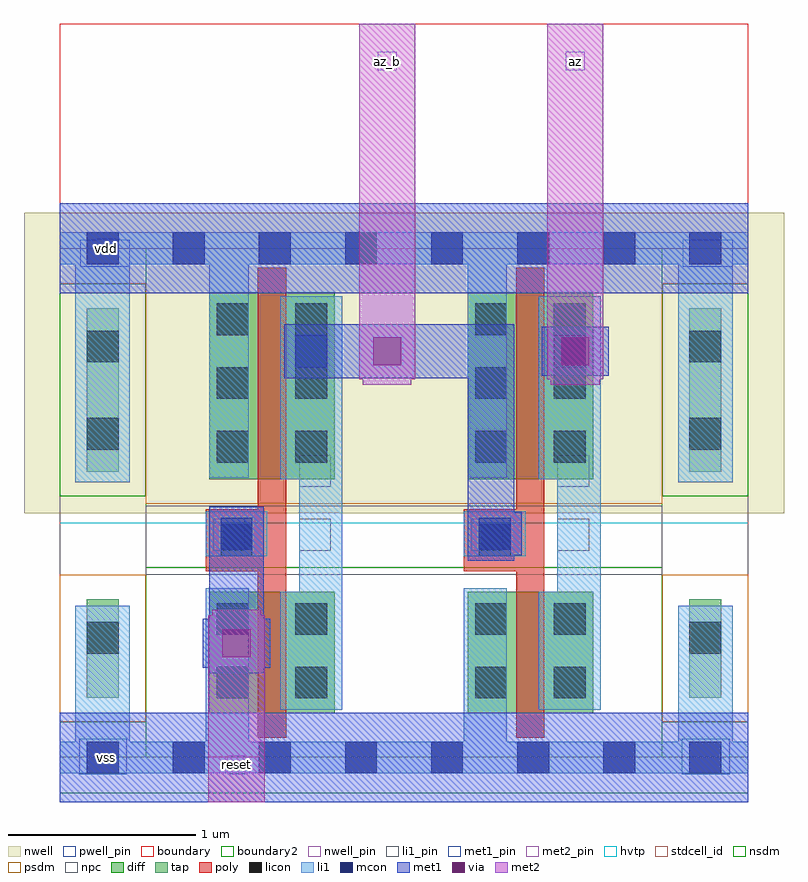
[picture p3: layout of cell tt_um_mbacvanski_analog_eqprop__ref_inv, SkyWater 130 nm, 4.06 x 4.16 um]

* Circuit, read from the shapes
.subckt tt_um_mbacvanski_analog_eqprop__ref_inv az az_b reset vdd vss
XM1 az_b reset vss vss sky130_fd_pr__nfet_01v8 w=0.65 l=0.15
XM2 az az_b vss vss sky130_fd_pr__nfet_01v8 w=0.65 l=0.15
XM3 az_b reset vdd vdd sky130_fd_pr__pfet_01v8_hvt w=1 l=0.15
XM4 az az_b vdd vdd sky130_fd_pr__pfet_01v8_hvt w=1 l=0.15
.ends

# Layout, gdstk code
import gdstk
lib = gdstk.Library(unit=1e-6, precision=1e-09)
def R(c, l, rs):  # rectangles x0, y0, x1, y1
    for r in rs: c.add(gdstk.rectangle(r[:2], r[2:], *l))
def A(c, l, x, y, w, h, nx, ny, dx, dy):  # array of equal rectangles
    R(c, l, [(x+i*dx, y+j*dy, x+i*dx+w, y+j*dy+h) for i in range(nx) for j in range(ny)])
def P(c, l, *ps):  # polygons
    for p in ps: c.add(gdstk.Polygon(p, *l))
nwell_pin = (64, 16)
nwell = (64, 20)
diff = (65, 20)
tap = (65, 44)
poly = (66, 20)
licon = (66, 44)
li1_pin = (67, 16)
li1 = (67, 20)
mcon = (67, 44)
met1_pin = (68, 16)
met1 = (68, 20)
via = (68, 44)
met2_pin = (69, 16)
met2 = (69, 20)
hvtp = (78, 44)
stdcell_id = (81, 4)
nsdm = (93, 44)
psdm = (94, 20)
npc = (95, 20)
pwell_pin = (122, 16)
boundary = (235, 4)
boundary2 = (236, 0)

sky130_fd_sc_hd__tapvpwr = lib.new_cell('sky130_fd_sc_hd__tapvpwrvgnd_1')
R(sky130_fd_sc_hd__tapvpwr, nwell, [(-0.19,1.305,0.65,2.91)])
R(sky130_fd_sc_hd__tapvpwr, tap, [(0.145,0.32,0.315,0.845), (0.145,1.525,0.315,2.4)])
R(sky130_fd_sc_hd__tapvpwr, licon, [(0.145,0.555,0.315,0.725), (0.145,1.645,0.315,1.815), (0.145,2.11,0.315,2.28)])
R(sky130_fd_sc_hd__tapvpwr, li1, [(0,-0.085,0.46,0.085), (0.085,0,0.375,0.81), (0.085,1.47,0.375,2.72), (0,2.635,0.46,2.805)])
R(sky130_fd_sc_hd__tapvpwr, mcon, [(0.145,-0.085,0.315,0.085), (0.145,2.635,0.315,2.805)])
R(sky130_fd_sc_hd__tapvpwr, met1_pin, [(0.105,-0.09,0.36,0.1), (0.11,2.62,0.375,2.765)])
R(sky130_fd_sc_hd__tapvpwr, met1, [(0,-0.24,0.46,0.24), (0,2.48,0.46,2.96)])
R(sky130_fd_sc_hd__tapvpwr, hvtp, [(0,1.25,0.46,2.72)])
R(sky130_fd_sc_hd__tapvpwr, stdcell_id, [(0,0,0.46,2.72)])
R(sky130_fd_sc_hd__tapvpwr, nsdm, [(0,-0.19,0.46,0.19), (0,1.395,0.46,2.53)])
R(sky130_fd_sc_hd__tapvpwr, psdm, [(0,0.19,0.46,0.975), (0,2.53,0.46,2.91)])
sky130_fd_sc_hd__tapvpwr.add(gdstk.Label('VGND', (0.23,0), layer=68, texttype=5))
sky130_fd_sc_hd__tapvpwr.add(gdstk.Label('VPWR', (0.23,2.72), layer=68, texttype=5))
sky130_fd_sc_hd__tapvpwr.add(gdstk.Label('tapvpwrvgnd_1', (0,0), layer=83, texttype=44))

sky130_fd_sc_hd__inv_1 = lib.new_cell('sky130_fd_sc_hd__inv_1')
R(sky130_fd_sc_hd__inv_1, nwell_pin, [(0.145,2.635,0.315,2.805), (0.145,2.635,0.315,2.805)])
R(sky130_fd_sc_hd__inv_1, nwell, [(-0.19,1.305,1.57,2.91)])
R(sky130_fd_sc_hd__inv_1, diff, [(0.34,0.235,1.01,0.885), (0.34,1.485,1.01,2.485)])
P(sky130_fd_sc_hd__inv_1, poly, [(0.6,0.105),(0.6,0.995),(0.32,0.995),(0.32,1.325),(0.6,1.325),(0.6,2.615),(0.75,2.615),(0.75,0.105)])
A(sky130_fd_sc_hd__inv_1, licon, 0.38, 1.575, 0.17, 0.17, 1, 3, 0, 0.34)
A(sky130_fd_sc_hd__inv_1, licon, 0.8, 1.575, 0.17, 0.17, 1, 3, 0, 0.34)
R(sky130_fd_sc_hd__inv_1, licon, [(0.38,0.315,0.55,0.485), (0.8,0.315,0.97,0.485), (0.38,0.655,0.55,0.825), (0.8,0.655,0.97,0.825), (0.4,1.075,0.57,1.245)])
R(sky130_fd_sc_hd__inv_1, li1_pin, [(0.36,1.105,0.53,1.275), (0.82,1.105,0.99,1.275), (0.82,1.445,0.99,1.615)])
R(sky130_fd_sc_hd__inv_1, li1, [(0,-0.085,1.38,0.085), (0.32,0.005,0.55,0.905), (0.32,1.075,0.65,1.315), (0.34,1.495,0.55,2.675), (0,2.635,1.38,2.805)])
P(sky130_fd_sc_hd__inv_1, li1, [(0.72,0.255),(0.72,0.885),(0.82,0.885),(0.82,1.485),(0.72,1.485),(0.72,2.465),(1.05,2.465),(1.05,0.255)])
A(sky130_fd_sc_hd__inv_1, mcon, 0.145, -0.085, 0.17, 0.17, 3, 2, 0.46, 2.72)
R(sky130_fd_sc_hd__inv_1, met1_pin, [(0.145,-0.085,0.315,0.085), (0.145,-0.085,0.315,0.085), (0.145,2.635,0.315,2.805), (0.145,2.635,0.315,2.805)])
R(sky130_fd_sc_hd__inv_1, hvtp, [(0,1.25,1.38,2.72)])
R(sky130_fd_sc_hd__inv_1, stdcell_id, [(0,0,1.38,2.72)])
R(sky130_fd_sc_hd__inv_1, nsdm, [(0,-0.19,1.38,1.015)])
R(sky130_fd_sc_hd__inv_1, psdm, [(0,1.355,1.38,2.91)])
R(sky130_fd_sc_hd__inv_1, npc, [(0,0.975,1.38,1.345)])
R(sky130_fd_sc_hd__inv_1, pwell_pin, [(0.145,-0.085,0.315,0.085), (0.145,-0.085,0.315,0.085)])
R(sky130_fd_sc_hd__inv_1, boundary2, [(0,0,1.38,2.72)])
sky130_fd_sc_hd__inv_1.add(gdstk.FlexPath([(0,0),(1.38,0)], 0.48, ends="flush", simple_path=True, layer=68, datatype=20))  # met1
sky130_fd_sc_hd__inv_1.add(gdstk.FlexPath([(0,2.72),(1.38,2.72)], 0.48, ends="flush", simple_path=True, layer=68, datatype=20))  # met1
sky130_fd_sc_hd__inv_1.add(gdstk.Label('A', (0.445,1.19), layer=67, texttype=5))
sky130_fd_sc_hd__inv_1.add(gdstk.Label('Y', (0.905,1.19), layer=67, texttype=5))
sky130_fd_sc_hd__inv_1.add(gdstk.Label('Y', (0.905,1.53), layer=67, texttype=5))
sky130_fd_sc_hd__inv_1.add(gdstk.Label('VPWR', (0.23,2.72), layer=68, texttype=5))
sky130_fd_sc_hd__inv_1.add(gdstk.Label('VGND', (0.23,0), layer=68, texttype=5))
sky130_fd_sc_hd__inv_1.add(gdstk.Label('inv_1', (0,0), layer=83, texttype=44))
sky130_fd_sc_hd__inv_1.add(gdstk.Label('VPB', (0.23,2.72), layer=64, texttype=5))
sky130_fd_sc_hd__inv_1.add(gdstk.Label('VNB', (0.23,0), layer=64, texttype=59))

tt_um_mbacvanski_analog_ = lib.new_cell('tt_um_mbacvanski_analog_eqprop__ref_inv')
R(tt_um_mbacvanski_analog_, li1, [(0.86,1.35,1.03,1.52), (2.24,1.35,2.41,1.52), (1.26,2.325,1.43,2.495), (2.64,2.325,2.81,2.495)])
R(tt_um_mbacvanski_analog_, mcon, [(0.86,1.35,1.03,1.52), (2.24,1.35,2.41,1.52), (1.26,2.325,1.43,2.495), (2.64,2.325,2.81,2.495)])
R(tt_um_mbacvanski_analog_, met1_pin, [(0.2,0.19,0.3,0.29), (0.2,2.91,0.3,3.01)])
R(tt_um_mbacvanski_analog_, met1, [(0,0,3.68,0.48), (0.8,0.69,1.09,0.72), (0.765,0.72,1.125,0.98), (0.8,0.98,1.09,1.58), (2.18,1.29,2.43,1.32), (2.18,1.32,2.47,1.55), (2.18,1.55,2.43,2.265), (1.2,2.265,2.43,2.555), (2.575,2.28,2.935,2.54), (0,2.72,3.68,3.2)])
R(tt_um_mbacvanski_analog_, via, [(0.87,0.775,1.02,0.925), (1.675,2.335,1.825,2.485), (2.68,2.335,2.83,2.485)])
R(tt_um_mbacvanski_analog_, met2_pin, [(0.895,0.15,0.995,0.25), (1.7,3.91,1.8,4.01), (2.705,3.91,2.805,4.01)])
R(tt_um_mbacvanski_analog_, met2, [(0.795,0,1.095,1), (0.815,1,1.075,1.03), (1.62,2.23,1.88,2.26), (2.625,2.23,2.885,2.26), (1.6,2.26,1.9,4.16), (2.605,2.26,2.905,4.16)])
R(tt_um_mbacvanski_analog_, boundary, [(0,0,3.68,4.16)])
tt_um_mbacvanski_analog_.add(gdstk.Reference(sky130_fd_sc_hd__tapvpwr, (0,0.24)))
tt_um_mbacvanski_analog_.add(gdstk.Reference(sky130_fd_sc_hd__tapvpwr, (3.22,0.24)))
tt_um_mbacvanski_analog_.add(gdstk.Reference(sky130_fd_sc_hd__inv_1, (1.84,0.24)))
tt_um_mbacvanski_analog_.add(gdstk.Reference(sky130_fd_sc_hd__inv_1, (0.46,0.24)))
tt_um_mbacvanski_analog_.add(gdstk.Label('vss', (0.25,0.24), layer=68, texttype=5))
tt_um_mbacvanski_analog_.add(gdstk.Label('vdd', (0.25,2.96), layer=68, texttype=5))
tt_um_mbacvanski_analog_.add(gdstk.Label('az_b', (1.75,3.96), layer=69, texttype=5))
tt_um_mbacvanski_analog_.add(gdstk.Label('az', (2.755,3.96), layer=69, texttype=5))
tt_um_mbacvanski_analog_.add(gdstk.Label('reset', (0.945,0.2), layer=69, texttype=5))

lib.write_gds('tt_um_mbacvanski_analog_eqprop__ref_inv.gds')
